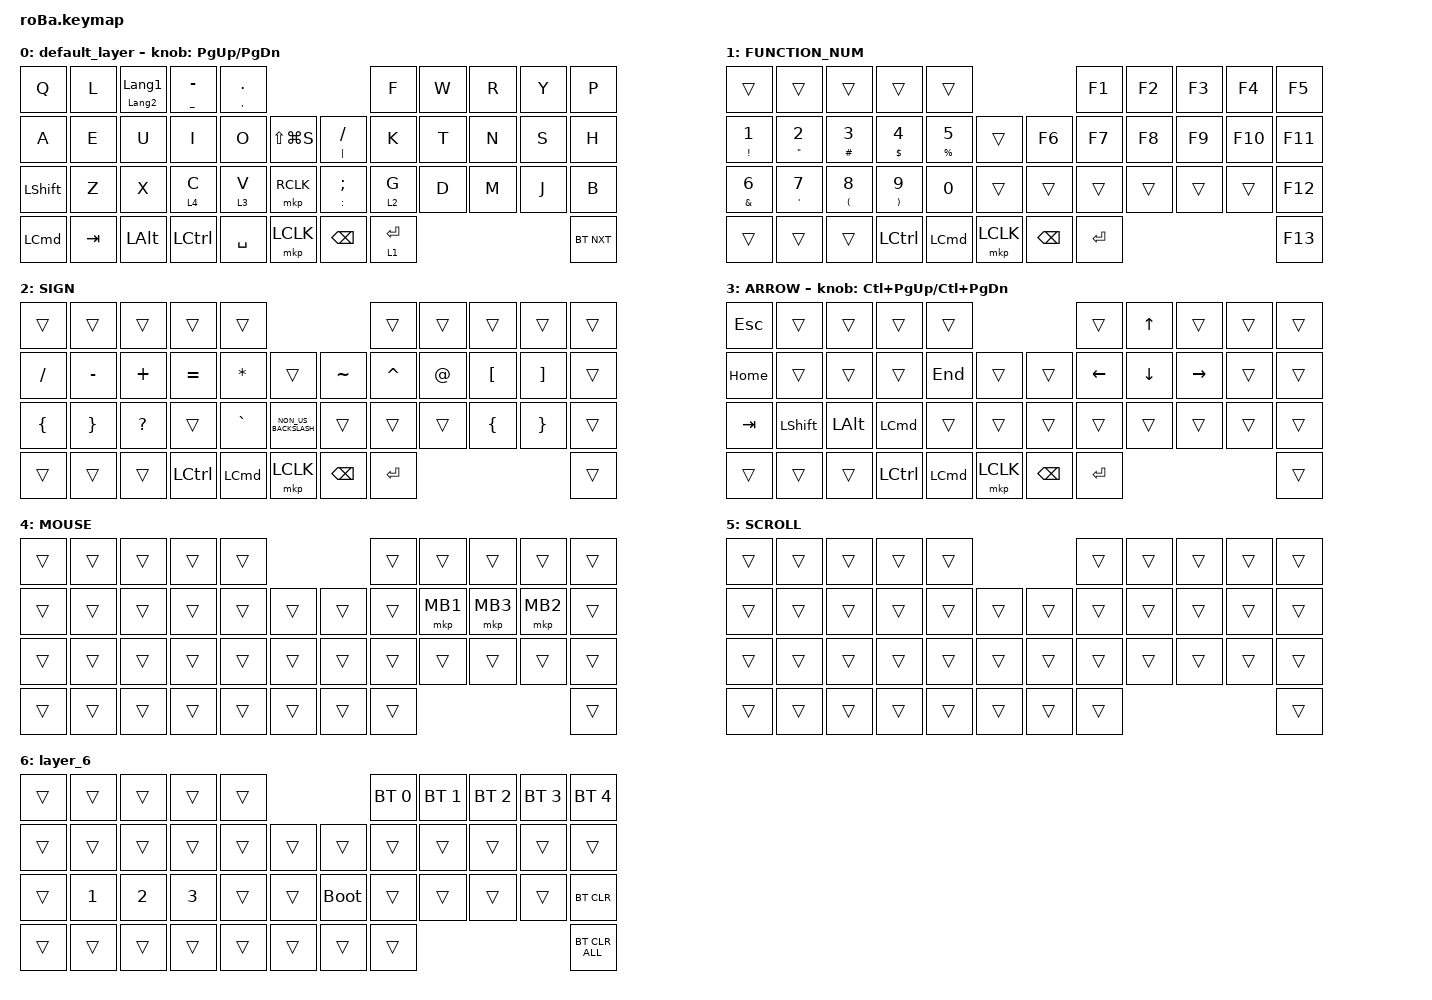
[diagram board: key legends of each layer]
#include <behaviors.dtsi>
#include <dt-bindings/zmk/bt.h>
#include <dt-bindings/zmk/keys.h>
#include <dt-bindings/zmk/pointing.h>

&mt {
    flavor = "balanced";
    quick-tap-ms = <0>;
};

&trackball {
    automouse-layer = <4>;
    scroll-layers = <5>;

    // arrows {
    //     layers = <3>;
    //     bindings =
    //         <&kp RIGHT_ARROW>,
    //         <&kp LEFT_ARROW>,
    //         <&kp UP_ARROW>,
    //         <&kp DOWN_ARROW>;
    //     tick = <10>;
    //     wait-ms = <5>;
    //     tap-ms = <5>;
    // };
};

/ {
    combos {
        compatible = "zmk,combos";

        tab {
            bindings = <&kp TAB>;
            key-positions = <11 12>;
        };

        shift_tab {
            bindings = <&kp LS(TAB)>;
            key-positions = <12 13>;
        };

        muhennkann {
            bindings = <&to_layer_0 INT_MUHENKAN>;
            key-positions = <11 10>;
        };

        double_quotation {
            bindings = <&kp DOUBLE_QUOTES>;
            key-positions = <20 21>;
        };

        eq {
            bindings = <&kp EQUAL>;
            key-positions = <24 25>;
        };
    };

    macros {
        to_layer_0: to_layer_0 {
            compatible = "zmk,behavior-macro-one-param";
            #binding-cells = <1>;
            bindings = <&to 0 &macro_param_1to1 &kp MACRO_PLACEHOLDER>;
            label = "TO_LAYER_0";
        };
    };

    behaviors {
        lt_to_layer_0: lt_to_layer_0 {
            compatible = "zmk,behavior-hold-tap";
            label = "LAYER_TAP_TO_0";
            bindings = <&mo>, <&to_layer_0>;

            #binding-cells = <2>;
            tapping-term-ms = <200>;
        };
    };

    keymap {
        compatible = "zmk,keymap";

        default_layer {
            bindings = <
&kp Q             &kp L    &mt LANGUAGE_2 LANGUAGE_1  &mt UNDERSCORE MINUS  &mt COMMA PERIOD                                          &kp F        &kp W  &kp R  &kp Y  &kp P
&kp A             &kp E    &kp U                      &kp I                 &kp O             &kp LS(LG(S))      &mt PIPE SLASH       &kp K        &kp T  &kp N  &kp S  &kp H
&kp LEFT_SHIFT    &kp Z    &kp X                      &lt 4 C               &lt 3 V           &mkp RCLK          &mt COLON SEMICOLON  &lt 2 G      &kp D  &kp M  &kp J  &kp B
&kp LEFT_COMMAND  &kp TAB  &kp LEFT_ALT               &kp LEFT_CONTROL      &kp SPACE         &mkp LCLK          &kp BACKSPACE        &lt 1 ENTER                       &bt BT_NXT
            >;

            sensor-bindings = <&inc_dec_kp PG_UP PAGE_DOWN>;
        };

        FUNCTION_NUM {
            bindings = <
&trans                  &trans                      &trans                         &trans                          &trans                                              &kp F1     &kp F2  &kp F3  &kp F4   &kp F5
&mt EXCL NUMBER_1       &mt DOUBLE_QUOTES NUMBER_2  &mt HASH NUMBER_3              &mt DOLLAR NUMBER_4             &mt PERCENT NUMBER_5  &trans         &kp F6         &kp F7     &kp F8  &kp F9  &kp F10  &kp F11
&mt AMPERSAND NUMBER_6  &mt SINGLE_QUOTE NUMBER_7   &mt LEFT_PARENTHESIS NUMBER_8  &mt RIGHT_PARENTHESIS NUMBER_9  &kp NUMBER_0          &trans         &trans         &trans     &trans  &trans  &trans   &kp F12
&trans                  &trans                      &trans                         &kp LEFT_CONTROL                &kp LEFT_COMMAND      &mkp LCLK      &kp BACKSPACE  &kp ENTER                           &kp F13
            >;
        };

        SIGN {
            bindings = <
&trans          &trans           &trans        &trans            &trans                                                     &trans     &trans  &trans            &trans             &trans
&kp SLASH       &kp MINUS        &kp PLUS      &kp EQUAL         &kp ASTERISK      &trans                    &kp TILDE      &kp CARET  &kp AT  &kp LEFT_BRACKET  &kp RIGHT_BRACKET  &trans
&kp LEFT_BRACE  &kp RIGHT_BRACE  &kp QUESTION  &trans            &kp GRAVE         &kp NON_US_BACKSLASH      &trans         &trans     &trans  &kp LEFT_BRACE    &kp RIGHT_BRACE    &trans
&trans          &trans           &trans        &kp LEFT_CONTROL  &kp LEFT_COMMAND  &mkp LCLK                 &kp BACKSPACE  &kp ENTER                                               &trans
            >;
        };

        ARROW {
            bindings = <
&kp ESCAPE  &trans          &trans        &trans            &trans                                          &trans          &kp UP_ARROW    &trans           &trans  &trans
&kp HOME    &trans          &trans        &trans            &kp END           &trans         &trans         &kp LEFT_ARROW  &kp DOWN_ARROW  &kp RIGHT_ARROW  &trans  &trans
&kp TAB     &kp LEFT_SHIFT  &kp LEFT_ALT  &kp LEFT_COMMAND  &trans            &trans         &trans         &trans          &trans          &trans           &trans  &trans
&trans      &trans          &trans        &kp LEFT_CONTROL  &kp LEFT_COMMAND  &mkp LCLK      &kp BACKSPACE  &kp ENTER                                                &trans
            >;

            sensor-bindings = <&inc_dec_kp LC(PAGE_UP) LC(PAGE_DOWN)>;
        };

        MOUSE {
            bindings = <
&trans  &trans  &trans  &trans  &trans                      &trans  &trans    &trans    &trans    &trans
&trans  &trans  &trans  &trans  &trans  &trans      &trans  &trans  &mkp MB1  &mkp MB3  &mkp MB2  &trans
&trans  &trans  &trans  &trans  &trans  &trans      &trans  &trans  &trans    &trans    &trans    &trans
&trans  &trans  &trans  &trans  &trans  &trans      &trans  &trans                                &trans
            >;
        };

        SCROLL {
            bindings = <
&trans  &trans  &trans  &trans  &trans                      &trans  &trans  &trans  &trans  &trans
&trans  &trans  &trans  &trans  &trans  &trans      &trans  &trans  &trans  &trans  &trans  &trans
&trans  &trans  &trans  &trans  &trans  &trans      &trans  &trans  &trans  &trans  &trans  &trans
&trans  &trans  &trans  &trans  &trans  &trans      &trans  &trans                          &trans
            >;
        };

        layer_6 {
            bindings = <
&trans  &trans        &trans        &trans        &trans                           &bt BT_SEL 0  &bt BT_SEL 1  &bt BT_SEL 2  &bt BT_SEL 3  &bt BT_SEL 4
&trans  &trans        &trans        &trans        &trans  &trans      &trans       &trans        &trans        &trans        &trans        &trans
&trans  &kp NUMBER_1  &kp NUMBER_2  &kp NUMBER_3  &trans  &trans      &bootloader  &trans        &trans        &trans        &trans        &bt BT_CLR
&trans  &trans        &trans        &trans        &trans  &trans      &trans       &trans                                                  &bt BT_CLR_ALL
            >;
        };
    };
};
